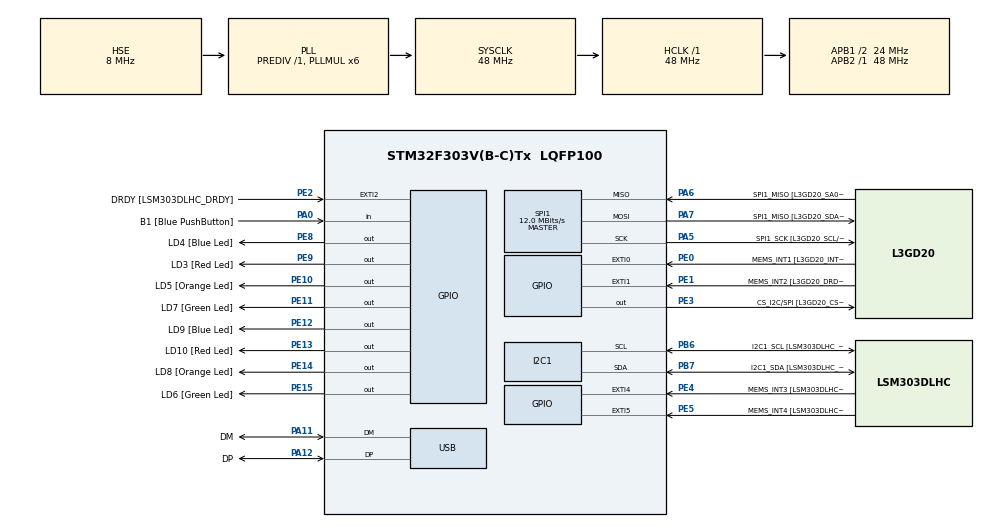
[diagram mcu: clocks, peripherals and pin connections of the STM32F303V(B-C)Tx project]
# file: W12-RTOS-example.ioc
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FREERTOS.Mutexes01=SerialMutex,Dynamic,NULL
FREERTOS.Tasks01=defaultTask,24,128,StartDefaultTask,Default,NULL,Dynamic,NULL,NULL;serial_1,8,128,StartSerial1,Default,NULL,Dynamic,NULL,NULL;serial_2,8,128,StartSerial2,Default,NULL,Dynamic,NULL,NULL
FREERTOS.configUSE_NEWLIB_REENTRANT=1
I2C1.Timing=0x2000090E
I2C1.Timing-I2C=0x2000090E
Mcu.Family=STM32F3
Mcu.Name=STM32F303V(B-C)Tx
Mcu.Package=LQFP100
NVIC.PriorityGroup=NVIC_PRIORITYGROUP_4
NVIC.TIM1_UP_TIM16_IRQn=true\:15\:0\:false\:false\:true\:false\:false\:true\:true
NVIC.TimeBase=TIM1_UP_TIM16_IRQn
NVIC.TimeBaseIP=TIM1
PA0.GPIO_Label=B1 [Blue PushButton]
PA0.Signal=GPIO_Input
PA11.GPIO_Label=DM
PA11.Mode=Device
PA11.Signal=USB_DM
PA12.GPIO_Label=DP
PA12.Mode=Device
PA12.Signal=USB_DP
PA13.GPIO_Label=SWDIO
PA13.Mode=Serial_Wire
PA13.Signal=SYS_JTMS-SWDIO
PA14.GPIO_Label=SWCLK
PA14.Mode=Serial_Wire
PA14.Signal=SYS_JTCK-SWCLK
PA5.GPIO_Label=SPI1_SCK [L3GD20_SCL/SPC]
PA5.Mode=Full_Duplex_Master
PA5.Signal=SPI1_SCK
PA6.GPIO_Label=SPI1_MISO [L3GD20_SA0/SDO]
PA6.Mode=Full_Duplex_Master
PA6.Signal=SPI1_MISO
PA7.GPIO_Label=SPI1_MISO [L3GD20_SDA/SDI/SDO]
PA7.Mode=Full_Duplex_Master
PA7.Signal=SPI1_MOSI
PB3.GPIO_Label=SWO
PB3.Signal=SYS_JTDO-TRACESWO
PB6.GPIO_Label=I2C1_SCL [LSM303DLHC_SCL]
PB6.GPIO_Pu=GPIO_PULLUP
PB6.Mode=I2C
PB6.Signal=I2C1_SCL
PB7.GPIO_Label=I2C1_SDA [LSM303DLHC_SDA]
PB7.GPIO_Pu=GPIO_PULLUP
PB7.Mode=I2C
PB7.Signal=I2C1_SDA
PC14-OSC32_IN.GPIO_Label=OSC32_IN
PC14-OSC32_IN.Signal=RCC_OSC32_IN
PC15-OSC32_OUT.GPIO_Label=OSC32_OUT
PC15-OSC32_OUT.Signal=RCC_OSC32_OUT
PE0.GPIO_Label=MEMS_INT1 [L3GD20_INT1]
PE0.GPIO_ModeDefaultEXTI=GPIO_MODE_EVT_RISING
PE0.Signal=GPXTI0
PE1.GPIO_Label=MEMS_INT2 [L3GD20_DRDY/INT2]
PE1.GPIO_ModeDefaultEXTI=GPIO_MODE_EVT_RISING
PE1.Signal=GPXTI1
PE10.GPIO_Label=LD5 [Orange Led]
PE10.Signal=GPIO_Output
PE11.GPIO_Label=LD7 [Green Led]
PE11.Signal=GPIO_Output
PE12.GPIO_Label=LD9 [Blue Led]
PE12.Signal=GPIO_Output
PE13.GPIO_Label=LD10 [Red Led]
PE13.Signal=GPIO_Output
PE14.GPIO_Label=LD8 [Orange Led]
PE14.Signal=GPIO_Output
PE15.GPIO_Label=LD6 [Green Led]
PE15.Signal=GPIO_Output
PE2.GPIO_Label=DRDY [LSM303DLHC_DRDY]
PE2.GPIO_ModeDefaultEXTI=GPIO_MODE_EVT_RISING
PE2.Signal=GPXTI2
PE3.GPIO_Label=CS_I2C/SPI [L3GD20_CS_I2C/SPI]
PE3.Signal=GPIO_Output
PE4.GPIO_Label=MEMS_INT3 [LSM303DLHC_INT1]
PE4.GPIO_ModeDefaultEXTI=GPIO_MODE_EVT_RISING
PE4.Signal=GPXTI4
PE5.GPIO_Label=MEMS_INT4 [LSM303DLHC_INT2]
PE5.GPIO_ModeDefaultEXTI=GPIO_MODE_EVT_RISING
PE5.Signal=GPXTI5
PE8.GPIO_Label=LD4 [Blue Led]
PE8.Signal=GPIO_Output
PE9.GPIO_Label=LD3 [Red Led]
PE9.Signal=GPIO_Output
PF0-OSC_IN.GPIO_Label=OSC_IN
PF0-OSC_IN.Mode=HSE-External-Clock-Source
PF0-OSC_IN.Signal=RCC_OSC_IN
PF1-OSC_OUT.GPIO_Label=OSC_OUT
PF1-OSC_OUT.Signal=RCC_OSC_OUT
ProjectManager.HeapSize=0x200
ProjectManager.StackSize=0x400
ProjectManager.TargetToolchain=STM32CubeIDE
RCC.AHBFreq_Value=48000000
RCC.APB1CLKDivider=RCC_HCLK_DIV2
RCC.APB1Freq_Value=24000000
RCC.APB1TimFreq_Value=48000000
RCC.APB2Freq_Value=48000000
RCC.APB2TimFreq_Value=48000000
RCC.CortexFreq_Value=48000000
RCC.HCLKFreq_Value=48000000
RCC.HSE_VALUE=8000000
RCC.HSI_VALUE=8000000
RCC.LSE_VALUE=32768
RCC.PLLMUL=RCC_PLL_MUL6
RCC.SYSCLKFreq_VALUE=48000000
RCC.SYSCLKSourceVirtual=RCC_SYSCLKSOURCE_PLLCLK
RCC.USBFreq_Value=48000000
SPI1.BaudRatePrescaler=SPI_BAUDRATEPRESCALER_4
SPI1.BaudRatePrescaler-Full_Duplex_Master=SPI_BAUDRATEPRESCALER_2
SPI1.CalculateBaudRate=12.0 MBits/s
SPI1.CalculateBaudRate-Full_Duplex_Master=24.0 MBits/s
SPI1.Direction=SPI_DIRECTION_2LINES
SPI1.Mode=SPI_MODE_MASTER
SPI1.Mode-Full_Duplex_Master=SPI_MODE_MASTER
SPI1.VirtualType=VM_MASTER
VP_FREERTOS_VS_CMSIS_V2.Mode=CMSIS_V2
VP_SYS_VS_tim1.Mode=TIM1
board=STM32F3DISCOVERY

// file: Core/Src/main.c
/* USER CODE BEGIN Header */
/**
  ******************************************************************************
  * @file           : main.c
  * @brief          : Main program body
  ******************************************************************************
  * @attention
  *
  * Copyright (c) 2024 STMicroelectronics.
  * All rights reserved.
  *
  * This software is licensed under terms that can be found in the LICENSE file
  * in the root directory of this software component.
  * If no LICENSE file comes with this software, it is provided AS-IS.
  *
  ******************************************************************************
  */
/* USER CODE END Header */
#include "main.h"
#include "cmsis_os.h"
#include "serial.h"

#include "semphr.h"

I2C_HandleTypeDef hi2c1;

SPI_HandleTypeDef hspi1;

PCD_HandleTypeDef hpcd_USB_FS;

/* Definitions for defaultTask */
osThreadId_t defaultTaskHandle;
const osThreadAttr_t defaultTask_attributes = {
  .name = "defaultTask",
  .stack_size = 128 * 4,
  .priority = (osPriority_t) osPriorityNormal,
};
/* Definitions for serial_1 */
osThreadId_t serial_1Handle;
const osThreadAttr_t serial_1_attributes = {
  .name = "serial_1",
  .stack_size = 128 * 4,
  .priority = (osPriority_t) osPriorityLow,
};
/* Definitions for serial_2 */
osThreadId_t serial_2Handle;
const osThreadAttr_t serial_2_attributes = {
  .name = "serial_2",
  .stack_size = 128 * 4,
  .priority = (osPriority_t) osPriorityLow,
};
/* Definitions for SerialMutex */
osMutexId_t SerialMutexHandle;
const osMutexAttr_t SerialMutex_attributes = {
  .name = "SerialMutex"
};

void SystemClock_Config(void);
static void MX_GPIO_Init(void);
static void MX_I2C1_Init(void);
static void MX_SPI1_Init(void);
static void MX_USB_PCD_Init(void);
void StartDefaultTask(void *argument);
void StartSerial1(void *argument);
void StartSerial2(void *argument);

int main(void)
{

  /* MCU Configuration--------------------------------------------------------*/

  /* Reset of all peripherals, Initializes the Flash interface and the Systick. */
  HAL_Init();

  /* USER CODE BEGIN Init */
  SerialInitialise(BAUD_115200, &USART1_PORT, 0x00);
  /* USER CODE END Init */

  /* Configure the system clock */
  SystemClock_Config();

  /* Initialize all configured peripherals */
  MX_GPIO_Init();
  MX_I2C1_Init();
  MX_SPI1_Init();
  MX_USB_PCD_Init();

  /* Init scheduler */
  osKernelInitialize();
  /* Create the mutex(es) */
  /* creation of SerialMutex */
  SerialMutexHandle = osMutexNew(&SerialMutex_attributes);

  /* Create the thread(s) */
  /* creation of defaultTask */
  defaultTaskHandle = osThreadNew(StartDefaultTask, NULL, &defaultTask_attributes);

  /* creation of serial_1 */
  serial_1Handle = osThreadNew(StartSerial1, NULL, &serial_1_attributes);

  /* creation of serial_2 */
  serial_2Handle = osThreadNew(StartSerial2, NULL, &serial_2_attributes);

  /* Start scheduler */
  osKernelStart();

  /* We should never get here as control is now taken by the scheduler */
  /* Infinite loop */
  while (1)
  {

  }
}

void SystemClock_Config(void)
{
  RCC_OscInitTypeDef RCC_OscInitStruct = {0};
  RCC_ClkInitTypeDef RCC_ClkInitStruct = {0};
  RCC_PeriphCLKInitTypeDef PeriphClkInit = {0};

  /** Initializes the RCC Oscillators according to the specified parameters
  * in the RCC_OscInitTypeDef structure.
  */
  RCC_OscInitStruct.OscillatorType = RCC_OSCILLATORTYPE_HSI|RCC_OSCILLATORTYPE_HSE;
  RCC_OscInitStruct.HSEState = RCC_HSE_BYPASS;
  RCC_OscInitStruct.HSEPredivValue = RCC_HSE_PREDIV_DIV1;
  RCC_OscInitStruct.HSIState = RCC_HSI_ON;
  RCC_OscInitStruct.HSICalibrationValue = RCC_HSICALIBRATION_DEFAULT;
  RCC_OscInitStruct.PLL.PLLState = RCC_PLL_ON;
  RCC_OscInitStruct.PLL.PLLSource = RCC_PLLSOURCE_HSE;
  RCC_OscInitStruct.PLL.PLLMUL = RCC_PLL_MUL6;
  if (HAL_RCC_OscConfig(&RCC_OscInitStruct) != HAL_OK)
  {
    Error_Handler();
  }

  /** Initializes the CPU, AHB and APB buses clocks
  */
  RCC_ClkInitStruct.ClockType = RCC_CLOCKTYPE_HCLK|RCC_CLOCKTYPE_SYSCLK
                              |RCC_CLOCKTYPE_PCLK1|RCC_CLOCKTYPE_PCLK2;
  RCC_ClkInitStruct.SYSCLKSource = RCC_SYSCLKSOURCE_PLLCLK;
  RCC_ClkInitStruct.AHBCLKDivider = RCC_SYSCLK_DIV1;
  RCC_ClkInitStruct.APB1CLKDivider = RCC_HCLK_DIV2;
  RCC_ClkInitStruct.APB2CLKDivider = RCC_HCLK_DIV1;

  if (HAL_RCC_ClockConfig(&RCC_ClkInitStruct, FLASH_LATENCY_1) != HAL_OK)
  {
    Error_Handler();
  }
  PeriphClkInit.PeriphClockSelection = RCC_PERIPHCLK_USB|RCC_PERIPHCLK_I2C1;
  PeriphClkInit.I2c1ClockSelection = RCC_I2C1CLKSOURCE_HSI;
  PeriphClkInit.USBClockSelection = RCC_USBCLKSOURCE_PLL;
  if (HAL_RCCEx_PeriphCLKConfig(&PeriphClkInit) != HAL_OK)
  {
    Error_Handler();
  }
}

static void MX_I2C1_Init(void)
{

  hi2c1.Instance = I2C1;
  hi2c1.Init.Timing = 0x2000090E;
  hi2c1.Init.OwnAddress1 = 0;
  hi2c1.Init.AddressingMode = I2C_ADDRESSINGMODE_7BIT;
  hi2c1.Init.DualAddressMode = I2C_DUALADDRESS_DISABLE;
  hi2c1.Init.OwnAddress2 = 0;
  hi2c1.Init.OwnAddress2Masks = I2C_OA2_NOMASK;
  hi2c1.Init.GeneralCallMode = I2C_GENERALCALL_DISABLE;
  hi2c1.Init.NoStretchMode = I2C_NOSTRETCH_DISABLE;
  if (HAL_I2C_Init(&hi2c1) != HAL_OK)
  {
    Error_Handler();
  }

  /** Configure Analogue filter
  */
  if (HAL_I2CEx_ConfigAnalogFilter(&hi2c1, I2C_ANALOGFILTER_ENABLE) != HAL_OK)
  {
    Error_Handler();
  }

  /** Configure Digital filter
  */
  if (HAL_I2CEx_ConfigDigitalFilter(&hi2c1, 0) != HAL_OK)
  {
    Error_Handler();
  }

}

static void MX_SPI1_Init(void)
{

  /* SPI1 parameter configuration*/
  hspi1.Instance = SPI1;
  hspi1.Init.Mode = SPI_MODE_MASTER;
  hspi1.Init.Direction = SPI_DIRECTION_2LINES;
  hspi1.Init.DataSize = SPI_DATASIZE_4BIT;
  hspi1.Init.CLKPolarity = SPI_POLARITY_LOW;
  hspi1.Init.CLKPhase = SPI_PHASE_1EDGE;
  hspi1.Init.NSS = SPI_NSS_SOFT;
  hspi1.Init.BaudRatePrescaler = SPI_BAUDRATEPRESCALER_4;
  hspi1.Init.FirstBit = SPI_FIRSTBIT_MSB;
  hspi1.Init.TIMode = SPI_TIMODE_DISABLE;
  hspi1.Init.CRCCalculation = SPI_CRCCALCULATION_DISABLE;
  hspi1.Init.CRCPolynomial = 7;
  hspi1.Init.CRCLength = SPI_CRC_LENGTH_DATASIZE;
  hspi1.Init.NSSPMode = SPI_NSS_PULSE_ENABLE;
  if (HAL_SPI_Init(&hspi1) != HAL_OK)
  {
    Error_Handler();
  }

}

static void MX_USB_PCD_Init(void)
{

  hpcd_USB_FS.Instance = USB;
  hpcd_USB_FS.Init.dev_endpoints = 8;
  hpcd_USB_FS.Init.speed = PCD_SPEED_FULL;
  hpcd_USB_FS.Init.phy_itface = PCD_PHY_EMBEDDED;
  hpcd_USB_FS.Init.low_power_enable = DISABLE;
  hpcd_USB_FS.Init.battery_charging_enable = DISABLE;
  if (HAL_PCD_Init(&hpcd_USB_FS) != HAL_OK)
  {
    Error_Handler();
  }

}

static void MX_GPIO_Init(void)
{
  GPIO_InitTypeDef GPIO_InitStruct = {0};

  /* GPIO Ports Clock Enable */
  __HAL_RCC_GPIOE_CLK_ENABLE();
  __HAL_RCC_GPIOC_CLK_ENABLE();
  __HAL_RCC_GPIOF_CLK_ENABLE();
  __HAL_RCC_GPIOA_CLK_ENABLE();
  __HAL_RCC_GPIOB_CLK_ENABLE();

  /*Configure GPIO pin Output Level */
  HAL_GPIO_WritePin(GPIOE, CS_I2C_SPI_Pin|LD4_Pin|LD3_Pin|LD5_Pin
                          |LD7_Pin|LD9_Pin|LD10_Pin|LD8_Pin
                          |LD6_Pin, GPIO_PIN_RESET);

  /*Configure GPIO pins : DRDY_Pin MEMS_INT3_Pin MEMS_INT4_Pin MEMS_INT1_Pin
                           MEMS_INT2_Pin */
  GPIO_InitStruct.Pin = DRDY_Pin|MEMS_INT3_Pin|MEMS_INT4_Pin|MEMS_INT1_Pin
                          |MEMS_INT2_Pin;
  GPIO_InitStruct.Mode = GPIO_MODE_EVT_RISING;
  GPIO_InitStruct.Pull = GPIO_NOPULL;
  HAL_GPIO_Init(GPIOE, &GPIO_InitStruct);

  /*Configure GPIO pins : CS_I2C_SPI_Pin LD4_Pin LD3_Pin LD5_Pin
                           LD7_Pin LD9_Pin LD10_Pin LD8_Pin
                           LD6_Pin */
  GPIO_InitStruct.Pin = CS_I2C_SPI_Pin|LD4_Pin|LD3_Pin|LD5_Pin
                          |LD7_Pin|LD9_Pin|LD10_Pin|LD8_Pin
                          |LD6_Pin;
  GPIO_InitStruct.Mode = GPIO_MODE_OUTPUT_PP;
  GPIO_InitStruct.Pull = GPIO_NOPULL;
  GPIO_InitStruct.Speed = GPIO_SPEED_FREQ_LOW;
  HAL_GPIO_Init(GPIOE, &GPIO_InitStruct);

  /*Configure GPIO pin : B1_Pin */
  GPIO_InitStruct.Pin = B1_Pin;
  GPIO_InitStruct.Mode = GPIO_MODE_INPUT;
  GPIO_InitStruct.Pull = GPIO_NOPULL;
  HAL_GPIO_Init(B1_GPIO_Port, &GPIO_InitStruct);

}

void StartDefaultTask(void *argument)
{
  for(;;)
  {
    osDelay(1);
  }
}

void StartSerial1(void *argument)
{
  /* USER CODE BEGIN StartSerial1 */
  uint8_t string_to_send[64] = "This is a string 1!\r\n";

  if ((GPIOA->IDR & 0x01) == 0) {
	  /* Infinite loop */
	  for(;;)
	  {
		  SerialOutputString(string_to_send, &USART1_PORT);
		  osDelay(1);
	  }
  }
  else {

	  /* Infinite loop */
	  for(;;)
	  {
		// SerialMutexHandle

			if( SerialMutexHandle != NULL )
			{
				/* See if we can obtain the semaphore.  If the semaphore is not
				available wait 10 ticks to see if it becomes free. */
				if( xSemaphoreTake( SerialMutexHandle, ( TickType_t ) 1000 ) == pdTRUE )
				{
					/* We were able to obtain the semaphore and can now access the
					shared resource. */

					SerialOutputString(string_to_send, &USART1_PORT);

					/* We have finished accessing the shared resource.  Release the
					semaphore. */
					xSemaphoreGive( SerialMutexHandle );
					osDelay(1);
				}
				else
				{
					/* We could not obtain the semaphore and can therefore not access
					the shared resource safely. */
				}
			}
	  }
  }

  /* USER CODE END StartSerial1 */
}

void StartSerial2(void *argument)
{
  /* USER CODE BEGIN StartSerial2 */
  uint8_t string_to_send[64] = "This is a string 2!\r\n";

  if ((GPIOA->IDR & 0x01) == 0) {
	  /* Infinite loop */
	  for(;;)
	  {
		  SerialOutputString(string_to_send, &USART1_PORT);
		  osDelay(1);
	  }
  }
  else {

	  /* Infinite loop */
	  for(;;)
	  {
		// SerialMutexHandle

			if( SerialMutexHandle != NULL )
			{
				/* See if we can obtain the semaphore.  If the semaphore is not
				available wait 10 ticks to see if it becomes free. */
				if( xSemaphoreTake( SerialMutexHandle, ( TickType_t ) 1000 ) == pdTRUE )
				{
					/* We were able to obtain the semaphore and can now access the
					shared resource. */

					SerialOutputString(string_to_send, &USART1_PORT);

					/* We have finished accessing the shared resource.  Release the
					semaphore. */
					xSemaphoreGive( SerialMutexHandle );
					osDelay(1);
				}
				else
				{
					/* We could not obtain the semaphore and can therefore not access
					the shared resource safely. */
				}
			}

	  }

  }
  /* USER CODE END StartSerial2 */
}

void HAL_TIM_PeriodElapsedCallback(TIM_HandleTypeDef *htim)
{
  if (htim->Instance == TIM1) {
    HAL_IncTick();
  }
}

void Error_Handler(void)
{
  __disable_irq();
  while (1)
  {
  }
}
